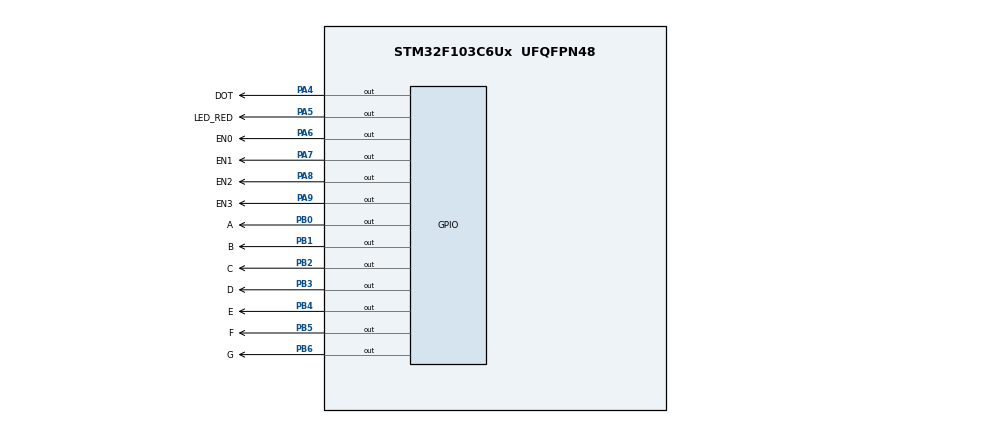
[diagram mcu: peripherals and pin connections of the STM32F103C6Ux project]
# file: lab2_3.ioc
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Mcu.Family=STM32F1
Mcu.Name=STM32F103C6Ux
Mcu.Package=UFQFPN48
NVIC.PriorityGroup=NVIC_PRIORITYGROUP_4
NVIC.TIM2_IRQn=true\:0\:0\:false\:false\:true\:true\:true
PA4.GPIO_Label=DOT
PA4.Signal=GPIO_Output
PA5.GPIO_Label=LED_RED
PA5.Signal=GPIO_Output
PA6.GPIO_Label=EN0
PA6.Signal=GPIO_Output
PA7.GPIO_Label=EN1
PA7.Signal=GPIO_Output
PA8.GPIO_Label=EN2
PA8.Signal=GPIO_Output
PA9.GPIO_Label=EN3
PA9.Signal=GPIO_Output
PB0.GPIO_Label=A
PB0.Signal=GPIO_Output
PB1.GPIO_Label=B
PB1.Signal=GPIO_Output
PB2.GPIO_Label=C
PB2.Signal=GPIO_Output
PB3.GPIO_Label=D
PB3.Signal=GPIO_Output
PB4.GPIO_Label=E
PB4.Signal=GPIO_Output
PB5.GPIO_Label=F
PB5.Signal=GPIO_Output
PB6.GPIO_Label=G
PB6.Signal=GPIO_Output
ProjectManager.HeapSize=0x200
ProjectManager.StackSize=0x400
ProjectManager.TargetToolchain=STM32CubeIDE
RCC.APB1Freq_Value=8000000
RCC.APB2Freq_Value=8000000
TIM2.Period=9
TIM2.Prescaler=7999
VP_SYS_VS_ND.Mode=No_Debug
VP_TIM2_VS_ClockSourceINT.Mode=Internal
board=custom

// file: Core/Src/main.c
/* USER CODE BEGIN Header */
/**
  ******************************************************************************
  * @file           : main.c
  * @brief          : Main program body
  ******************************************************************************
  * @attention
  *
  * <h2><center>&copy; Copyright (c) 2022 STMicroelectronics.
  * All rights reserved.</center></h2>
  *
  * This software component is licensed by ST under BSD 3-Clause license,
  * the "License"; You may not use this file except in compliance with the
  * License. You may obtain a copy of the License at:
  *                        opensource.org/licenses/BSD-3-Clause
  *
  ******************************************************************************
  */
/* USER CODE END Header */
#include "main.h"

/* USER CODE BEGIN Includes */
#include "software.h"
#include "display.h"
/* USER CODE END Includes */

TIM_HandleTypeDef htim2;

void SystemClock_Config(void);
static void MX_GPIO_Init(void);
static void MX_TIM2_Init(void);

int main(void)
{

  /* MCU Configuration--------------------------------------------------------*/

  /* Reset of all peripherals, Initializes the Flash interface and the Systick. */
  HAL_Init();

  /* Configure the system clock */
  SystemClock_Config();

  /* Initialize all configured peripherals */
  MX_GPIO_Init();
  MX_TIM2_Init();
  /* USER CODE BEGIN 2 */
  HAL_TIM_Base_Start_IT (& htim2 ) ;
  /* USER CODE END 2 */

  /* Infinite loop */
  /* USER CODE BEGIN WHILE */
  int index_led = 0;
  display7SEG(led_buffer[0]);
  HAL_GPIO_WritePin(DOT_GPIO_Port, DOT_Pin, SET);
  HAL_GPIO_WritePin(EN0_GPIO_Port, EN0_Pin, RESET);
  HAL_GPIO_WritePin(EN1_GPIO_Port, EN1_Pin, SET);
  HAL_GPIO_WritePin(EN2_GPIO_Port, EN2_Pin, SET);
  HAL_GPIO_WritePin(EN3_GPIO_Port, EN3_Pin, SET);
  setTimer1(100);
  while (1)
  {
	  if(timer1_flag == 1){
			  setTimer1(100);
			  setTimer5(5);
			  //TODO
			  HAL_GPIO_WritePin(DOT_GPIO_Port, DOT_Pin, RESET);
			  index_led++;
			  if(index_led > 3){
			  	  		index_led = 0;
			  }
			  update7SEG(index_led);
			  if(index_led == 0){
			  		HAL_GPIO_WritePin(EN3_GPIO_Port, EN3_Pin, SET);
			  		HAL_GPIO_WritePin(EN0_GPIO_Port, EN0_Pin, RESET);
			  }else if(index_led == 1){
			  		HAL_GPIO_WritePin(EN0_GPIO_Port, EN0_Pin, SET);
			  		HAL_GPIO_WritePin(EN1_GPIO_Port, EN1_Pin, RESET);
			  }else if(index_led == 2){
			  		HAL_GPIO_WritePin(EN1_GPIO_Port, EN1_Pin, SET);
			  		HAL_GPIO_WritePin(EN2_GPIO_Port, EN2_Pin, RESET);
			  }else{
			  		HAL_GPIO_WritePin(EN2_GPIO_Port, EN2_Pin, SET);
			  		HAL_GPIO_WritePin(EN3_GPIO_Port, EN3_Pin, RESET);
			  }
	  }
	  if(timer5_flag == 1){
		  HAL_GPIO_WritePin(DOT_GPIO_Port, DOT_Pin, SET);
	  }
    /* USER CODE END WHILE */

  }
}

void SystemClock_Config(void)
{
  RCC_OscInitTypeDef RCC_OscInitStruct = {0};
  RCC_ClkInitTypeDef RCC_ClkInitStruct = {0};

  /** Initializes the RCC Oscillators according to the specified parameters
  * in the RCC_OscInitTypeDef structure.
  */
  RCC_OscInitStruct.OscillatorType = RCC_OSCILLATORTYPE_HSI;
  RCC_OscInitStruct.HSIState = RCC_HSI_ON;
  RCC_OscInitStruct.HSICalibrationValue = RCC_HSICALIBRATION_DEFAULT;
  RCC_OscInitStruct.PLL.PLLState = RCC_PLL_NONE;
  if (HAL_RCC_OscConfig(&RCC_OscInitStruct) != HAL_OK)
  {
    Error_Handler();
  }
  /** Initializes the CPU, AHB and APB buses clocks
  */
  RCC_ClkInitStruct.ClockType = RCC_CLOCKTYPE_HCLK|RCC_CLOCKTYPE_SYSCLK
                              |RCC_CLOCKTYPE_PCLK1|RCC_CLOCKTYPE_PCLK2;
  RCC_ClkInitStruct.SYSCLKSource = RCC_SYSCLKSOURCE_HSI;
  RCC_ClkInitStruct.AHBCLKDivider = RCC_SYSCLK_DIV1;
  RCC_ClkInitStruct.APB1CLKDivider = RCC_HCLK_DIV1;
  RCC_ClkInitStruct.APB2CLKDivider = RCC_HCLK_DIV1;

  if (HAL_RCC_ClockConfig(&RCC_ClkInitStruct, FLASH_LATENCY_0) != HAL_OK)
  {
    Error_Handler();
  }
}

static void MX_TIM2_Init(void)
{

  TIM_ClockConfigTypeDef sClockSourceConfig = {0};
  TIM_MasterConfigTypeDef sMasterConfig = {0};

  htim2.Instance = TIM2;
  htim2.Init.Prescaler = 7999;
  htim2.Init.CounterMode = TIM_COUNTERMODE_UP;
  htim2.Init.Period = 9;
  htim2.Init.ClockDivision = TIM_CLOCKDIVISION_DIV1;
  htim2.Init.AutoReloadPreload = TIM_AUTORELOAD_PRELOAD_DISABLE;
  if (HAL_TIM_Base_Init(&htim2) != HAL_OK)
  {
    Error_Handler();
  }
  sClockSourceConfig.ClockSource = TIM_CLOCKSOURCE_INTERNAL;
  if (HAL_TIM_ConfigClockSource(&htim2, &sClockSourceConfig) != HAL_OK)
  {
    Error_Handler();
  }
  sMasterConfig.MasterOutputTrigger = TIM_TRGO_RESET;
  sMasterConfig.MasterSlaveMode = TIM_MASTERSLAVEMODE_DISABLE;
  if (HAL_TIMEx_MasterConfigSynchronization(&htim2, &sMasterConfig) != HAL_OK)
  {
    Error_Handler();
  }

}

static void MX_GPIO_Init(void)
{
  GPIO_InitTypeDef GPIO_InitStruct = {0};

  /* GPIO Ports Clock Enable */
  __HAL_RCC_GPIOA_CLK_ENABLE();
  __HAL_RCC_GPIOB_CLK_ENABLE();

  /*Configure GPIO pin Output Level */
  HAL_GPIO_WritePin(GPIOA, DOT_Pin|LED_RED_Pin|EN0_Pin|EN1_Pin
                          |EN2_Pin|EN3_Pin, GPIO_PIN_RESET);

  /*Configure GPIO pin Output Level */
  HAL_GPIO_WritePin(GPIOB, A_Pin|B_Pin|C_Pin|D_Pin
                          |E_Pin|F_Pin|G_Pin, GPIO_PIN_RESET);

  /*Configure GPIO pins : DOT_Pin LED_RED_Pin EN0_Pin EN1_Pin
                           EN2_Pin EN3_Pin */
  GPIO_InitStruct.Pin = DOT_Pin|LED_RED_Pin|EN0_Pin|EN1_Pin
                          |EN2_Pin|EN3_Pin;
  GPIO_InitStruct.Mode = GPIO_MODE_OUTPUT_PP;
  GPIO_InitStruct.Pull = GPIO_NOPULL;
  GPIO_InitStruct.Speed = GPIO_SPEED_FREQ_LOW;
  HAL_GPIO_Init(GPIOA, &GPIO_InitStruct);

  /*Configure GPIO pins : A_Pin B_Pin C_Pin D_Pin
                           E_Pin F_Pin G_Pin */
  GPIO_InitStruct.Pin = A_Pin|B_Pin|C_Pin|D_Pin
                          |E_Pin|F_Pin|G_Pin;
  GPIO_InitStruct.Mode = GPIO_MODE_OUTPUT_PP;
  GPIO_InitStruct.Pull = GPIO_NOPULL;
  GPIO_InitStruct.Speed = GPIO_SPEED_FREQ_LOW;
  HAL_GPIO_Init(GPIOB, &GPIO_InitStruct);

}

/* USER CODE BEGIN 4 */
void HAL_TIM_PeriodElapsedCallback ( TIM_HandleTypeDef * htim )
{
	timerRun();

}
/* USER CODE END 4 */

void Error_Handler(void)
{
  __disable_irq();
  while (1)
  {
  }
}

/************************ (C) COPYRIGHT STMicroelectronics *****END OF FILE****/
